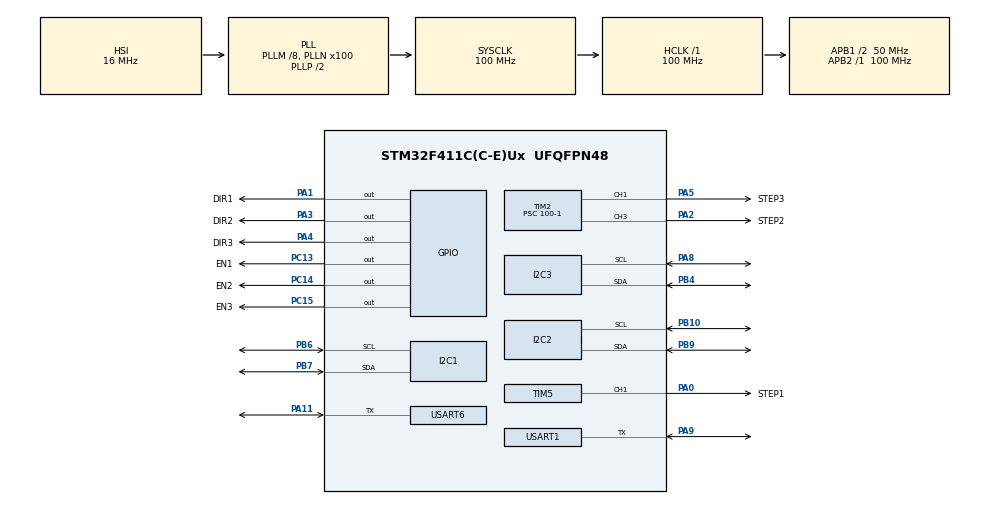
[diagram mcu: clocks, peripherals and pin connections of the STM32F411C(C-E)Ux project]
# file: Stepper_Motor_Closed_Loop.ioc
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Mcu.Family=STM32F4
Mcu.Name=STM32F411C(C-E)Ux
Mcu.Package=UFQFPN48
NVIC.PriorityGroup=NVIC_PRIORITYGROUP_4
NVIC.TIM2_IRQn=true\:0\:0\:true\:false\:true\:true\:true\:true
NVIC.TIM5_IRQn=true\:0\:0\:false\:false\:true\:true\:true\:true
PA0-WKUP.GPIO_Label=STEP1
PA0-WKUP.Signal=S_TIM5_CH1
PA1.GPIO_Label=DIR1
PA1.Signal=GPIO_Output
PA11.Mode=Half_duplex(single_wire_mode)
PA11.Signal=USART6_TX
PA13.Mode=Trace_Asynchronous_SW
PA13.Signal=SYS_JTMS-SWDIO
PA14.Mode=Trace_Asynchronous_SW
PA14.Signal=SYS_JTCK-SWCLK
PA2.GPIO_Label=STEP2
PA2.Signal=S_TIM2_CH3
PA3.GPIO_Label=DIR2
PA3.Signal=GPIO_Output
PA4.GPIO_Label=DIR3
PA4.Signal=GPIO_Output
PA5.GPIO_Label=STEP3
PA5.Signal=S_TIM2_CH1_ETR
PA8.Mode=I2C
PA8.Signal=I2C3_SCL
PA9.Mode=Half_duplex(single_wire_mode)
PA9.Signal=USART1_TX
PB10.GPIO_Pu=GPIO_PULLUP
PB10.Mode=I2C
PB10.Signal=I2C2_SCL
PB3.Mode=Trace_Asynchronous_SW
PB3.Signal=SYS_JTDO-SWO
PB4.Mode=I2C
PB4.Signal=I2C3_SDA
PB6.GPIO_Pu=GPIO_PULLUP
PB6.Mode=I2C
PB6.Signal=I2C1_SCL
PB7.GPIO_Pu=GPIO_PULLUP
PB7.Mode=I2C
PB7.Signal=I2C1_SDA
PB9.GPIO_Pu=GPIO_PULLUP
PB9.Mode=I2C
PB9.Signal=I2C2_SDA
PC13-ANTI_TAMP.GPIO_Label=EN1
PC13-ANTI_TAMP.GPIO_PuPd=GPIO_PULLUP
PC13-ANTI_TAMP.Signal=GPIO_Output
PC14-OSC32_IN.GPIO_Label=EN2
PC14-OSC32_IN.GPIO_PuPd=GPIO_PULLUP
PC14-OSC32_IN.Signal=GPIO_Output
PC15-OSC32_OUT.GPIO_Label=EN3
PC15-OSC32_OUT.GPIO_PuPd=GPIO_PULLUP
PC15-OSC32_OUT.Signal=GPIO_Output
PH0\ -\ OSC_IN.Mode=HSE-External-Oscillator
PH0\ -\ OSC_IN.Signal=RCC_OSC_IN
PH1\ -\ OSC_OUT.Mode=HSE-External-Oscillator
PH1\ -\ OSC_OUT.Signal=RCC_OSC_OUT
ProjectManager.HeapSize=0x200
ProjectManager.StackSize=0x400
ProjectManager.TargetToolchain=STM32CubeIDE
RCC.48MHZClocksFreq_Value=50000000
RCC.AHBFreq_Value=100000000
RCC.APB1CLKDivider=RCC_HCLK_DIV2
RCC.APB1Freq_Value=50000000
RCC.APB1TimFreq_Value=100000000
RCC.APB2Freq_Value=100000000
RCC.APB2TimFreq_Value=100000000
RCC.CortexFreq_Value=100000000
RCC.HCLKFreq_Value=100000000
RCC.HSE_VALUE=25000000
RCC.HSI_VALUE=16000000
RCC.LSE_VALUE=32768
RCC.PLLM=8
RCC.PLLN=100
RCC.SYSCLKFreq_VALUE=100000000
RCC.SYSCLKSource=RCC_SYSCLKSOURCE_PLLCLK
RCC.VCOOutputFreq_Value=200000000
SH.S_TIM2_CH1_ETR.0=TIM2_CH1,PWM Generation1 CH1
SH.S_TIM2_CH3.0=TIM2_CH3,PWM Generation3 CH3
SH.S_TIM5_CH1.0=TIM5_CH1,PWM Generation1 CH1
TIM2.AutoReloadPreload=TIM_AUTORELOAD_PRELOAD_ENABLE
TIM2.Channel-PWM\ Generation1\ CH1=TIM_CHANNEL_1
TIM2.Channel-PWM\ Generation3\ CH3=TIM_CHANNEL_3
TIM2.Period=2000-1
TIM2.Prescaler=100-1
TIM2.TIM_MasterOutputTrigger=TIM_TRGO_RESET
TIM5.Channel-PWM\ Generation1\ CH1=TIM_CHANNEL_1
USART1.VirtualMode=VM_ASYNC
USART6.VirtualMode=VM_ASYNC
VP_TIM2_VS_ClockSourceINT.Mode=Internal
VP_TIM5_VS_ClockSourceINT.Mode=Internal
board=custom

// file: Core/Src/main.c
/* USER CODE BEGIN Header */
/**
 ******************************************************************************
 * @file           : main.c
 * @brief          : Main program body
 ******************************************************************************
 * @attention
 *
 * Copyright (c) 2025 STMicroelectronics.
 * All rights reserved.
 *
 * This software is licensed under terms that can be found in the LICENSE file
 * in the root directory of this software component.
 * If no LICENSE file comes with this software, it is provided AS-IS.
 *
 ******************************************************************************
 */
/* USER CODE END Header */
#include "main.h"

/* USER CODE BEGIN Includes */
#include "Stepper_Driver.h"
#include "stdio.h"
/* USER CODE END Includes */

I2C_HandleTypeDef hi2c1;
I2C_HandleTypeDef hi2c2;
I2C_HandleTypeDef hi2c3;

TIM_HandleTypeDef htim2;
TIM_HandleTypeDef htim5;

UART_HandleTypeDef huart1;
UART_HandleTypeDef huart6;

void SystemClock_Config(void);
static void MX_GPIO_Init(void);
static void MX_I2C1_Init(void);
static void MX_TIM2_Init(void);
static void MX_TIM5_Init(void);
static void MX_I2C2_Init(void);
static void MX_USART6_UART_Init(void);
static void MX_I2C3_Init(void);
static void MX_USART1_UART_Init(void);
/* USER CODE BEGIN PFP */
int _write(int file, char *ptr, int len) {
	(void) file;
	int DataIdx;

	for (DataIdx = 0; DataIdx < len; DataIdx++) {
		ITM_SendChar(*ptr++);
	}
	return len;
}

Motorparams dof1 = {180, &hi2c1, &htim2};
Motorparams dof2 = {180, &hi2c2, &htim2};
Motorparams dof3 = {180, &hi2c3, &htim5};

/* USER CODE END PFP */

int main(void)
{

  /* MCU Configuration--------------------------------------------------------*/

  /* Reset of all peripherals, Initializes the Flash interface and the Systick. */
  HAL_Init();

  /* Configure the system clock */
  SystemClock_Config();

  /* Initialize all configured peripherals */
  MX_GPIO_Init();
  MX_I2C1_Init();
  MX_TIM2_Init();
  MX_TIM5_Init();
  MX_I2C2_Init();
  MX_USART6_UART_Init();
  MX_I2C3_Init();
  MX_USART1_UART_Init();

  /* Infinite loop */
  /* USER CODE BEGIN WHILE */
	while (1) {
//MotorControl_Update Function is used to activate the closed loop control for the particular dof in its parameter
//	MotorControl_Update(&dof1); //TIM2->CCR3 STEPPER 2
//	HAL_Delay(1);
//	MotorControl_Update(&dof2); //TIM2->CCR1 STEPPER 3
//	HAL_Delay(1);
//	MotorControl_Update(&dof3);	//TIM5->CCR1 STEPPER 1

/* OPEN LOOP CODE BEGIN
//	HAL_GPIO_WritePin(GPIOA, GPIO_PIN_1, GPIO_PIN_SET );
//	HAL_TIM_PWM_Start(&htim2, TIM_CHANNEL_1);
//	TIM2 -> CCR1 = 100;
 * OPEN LOOP CODE END
 */

/* AS5600 TEST CODE BEGIN */
	float angle = AS5600_ReadCorrectedAngle(&hi2c1);
	        if (angle >= 0) {
	            printf("Angle: %.2f°\n", angle);
	        } else {
	            printf("AS5600 Read Error!\n");
	        }
	HAL_Delay(500);  // Read every 500ms
 /* AS5600 TEST CODE END */

    /* USER CODE END WHILE */

	}
}

void SystemClock_Config(void)
{
  RCC_OscInitTypeDef RCC_OscInitStruct = {0};
  RCC_ClkInitTypeDef RCC_ClkInitStruct = {0};

  /** Configure the main internal regulator output voltage
  */
  __HAL_RCC_PWR_CLK_ENABLE();
  __HAL_PWR_VOLTAGESCALING_CONFIG(PWR_REGULATOR_VOLTAGE_SCALE1);

  /** Initializes the RCC Oscillators according to the specified parameters
  * in the RCC_OscInitTypeDef structure.
  */
  RCC_OscInitStruct.OscillatorType = RCC_OSCILLATORTYPE_HSI;
  RCC_OscInitStruct.HSIState = RCC_HSI_ON;
  RCC_OscInitStruct.HSICalibrationValue = RCC_HSICALIBRATION_DEFAULT;
  RCC_OscInitStruct.PLL.PLLState = RCC_PLL_ON;
  RCC_OscInitStruct.PLL.PLLSource = RCC_PLLSOURCE_HSI;
  RCC_OscInitStruct.PLL.PLLM = 8;
  RCC_OscInitStruct.PLL.PLLN = 100;
  RCC_OscInitStruct.PLL.PLLP = RCC_PLLP_DIV2;
  RCC_OscInitStruct.PLL.PLLQ = 4;
  if (HAL_RCC_OscConfig(&RCC_OscInitStruct) != HAL_OK)
  {
    Error_Handler();
  }

  /** Initializes the CPU, AHB and APB buses clocks
  */
  RCC_ClkInitStruct.ClockType = RCC_CLOCKTYPE_HCLK|RCC_CLOCKTYPE_SYSCLK
                              |RCC_CLOCKTYPE_PCLK1|RCC_CLOCKTYPE_PCLK2;
  RCC_ClkInitStruct.SYSCLKSource = RCC_SYSCLKSOURCE_PLLCLK;
  RCC_ClkInitStruct.AHBCLKDivider = RCC_SYSCLK_DIV1;
  RCC_ClkInitStruct.APB1CLKDivider = RCC_HCLK_DIV2;
  RCC_ClkInitStruct.APB2CLKDivider = RCC_HCLK_DIV1;

  if (HAL_RCC_ClockConfig(&RCC_ClkInitStruct, FLASH_LATENCY_3) != HAL_OK)
  {
    Error_Handler();
  }
}

static void MX_I2C1_Init(void)
{

  hi2c1.Instance = I2C1;
  hi2c1.Init.ClockSpeed = 100000;
  hi2c1.Init.DutyCycle = I2C_DUTYCYCLE_2;
  hi2c1.Init.OwnAddress1 = 0;
  hi2c1.Init.AddressingMode = I2C_ADDRESSINGMODE_7BIT;
  hi2c1.Init.DualAddressMode = I2C_DUALADDRESS_DISABLE;
  hi2c1.Init.OwnAddress2 = 0;
  hi2c1.Init.GeneralCallMode = I2C_GENERALCALL_DISABLE;
  hi2c1.Init.NoStretchMode = I2C_NOSTRETCH_DISABLE;
  if (HAL_I2C_Init(&hi2c1) != HAL_OK)
  {
    Error_Handler();
  }

}

static void MX_I2C2_Init(void)
{

  hi2c2.Instance = I2C2;
  hi2c2.Init.ClockSpeed = 100000;
  hi2c2.Init.DutyCycle = I2C_DUTYCYCLE_2;
  hi2c2.Init.OwnAddress1 = 0;
  hi2c2.Init.AddressingMode = I2C_ADDRESSINGMODE_7BIT;
  hi2c2.Init.DualAddressMode = I2C_DUALADDRESS_DISABLE;
  hi2c2.Init.OwnAddress2 = 0;
  hi2c2.Init.GeneralCallMode = I2C_GENERALCALL_DISABLE;
  hi2c2.Init.NoStretchMode = I2C_NOSTRETCH_DISABLE;
  if (HAL_I2C_Init(&hi2c2) != HAL_OK)
  {
    Error_Handler();
  }

}

static void MX_I2C3_Init(void)
{

  hi2c3.Instance = I2C3;
  hi2c3.Init.ClockSpeed = 100000;
  hi2c3.Init.DutyCycle = I2C_DUTYCYCLE_2;
  hi2c3.Init.OwnAddress1 = 0;
  hi2c3.Init.AddressingMode = I2C_ADDRESSINGMODE_7BIT;
  hi2c3.Init.DualAddressMode = I2C_DUALADDRESS_DISABLE;
  hi2c3.Init.OwnAddress2 = 0;
  hi2c3.Init.GeneralCallMode = I2C_GENERALCALL_DISABLE;
  hi2c3.Init.NoStretchMode = I2C_NOSTRETCH_DISABLE;
  if (HAL_I2C_Init(&hi2c3) != HAL_OK)
  {
    Error_Handler();
  }

}

static void MX_TIM2_Init(void)
{

  TIM_ClockConfigTypeDef sClockSourceConfig = {0};
  TIM_MasterConfigTypeDef sMasterConfig = {0};
  TIM_OC_InitTypeDef sConfigOC = {0};

  htim2.Instance = TIM2;
  htim2.Init.Prescaler = 100-1;
  htim2.Init.CounterMode = TIM_COUNTERMODE_UP;
  htim2.Init.Period = 2000-1;
  htim2.Init.ClockDivision = TIM_CLOCKDIVISION_DIV1;
  htim2.Init.AutoReloadPreload = TIM_AUTORELOAD_PRELOAD_ENABLE;
  if (HAL_TIM_Base_Init(&htim2) != HAL_OK)
  {
    Error_Handler();
  }
  sClockSourceConfig.ClockSource = TIM_CLOCKSOURCE_INTERNAL;
  if (HAL_TIM_ConfigClockSource(&htim2, &sClockSourceConfig) != HAL_OK)
  {
    Error_Handler();
  }
  if (HAL_TIM_PWM_Init(&htim2) != HAL_OK)
  {
    Error_Handler();
  }
  sMasterConfig.MasterOutputTrigger = TIM_TRGO_RESET;
  sMasterConfig.MasterSlaveMode = TIM_MASTERSLAVEMODE_DISABLE;
  if (HAL_TIMEx_MasterConfigSynchronization(&htim2, &sMasterConfig) != HAL_OK)
  {
    Error_Handler();
  }
  sConfigOC.OCMode = TIM_OCMODE_PWM1;
  sConfigOC.Pulse = 0;
  sConfigOC.OCPolarity = TIM_OCPOLARITY_HIGH;
  sConfigOC.OCFastMode = TIM_OCFAST_DISABLE;
  if (HAL_TIM_PWM_ConfigChannel(&htim2, &sConfigOC, TIM_CHANNEL_1) != HAL_OK)
  {
    Error_Handler();
  }
  if (HAL_TIM_PWM_ConfigChannel(&htim2, &sConfigOC, TIM_CHANNEL_3) != HAL_OK)
  {
    Error_Handler();
  }
  HAL_TIM_MspPostInit(&htim2);

}

static void MX_TIM5_Init(void)
{

  TIM_ClockConfigTypeDef sClockSourceConfig = {0};
  TIM_MasterConfigTypeDef sMasterConfig = {0};
  TIM_OC_InitTypeDef sConfigOC = {0};

  htim5.Instance = TIM5;
  htim5.Init.Prescaler = 0;
  htim5.Init.CounterMode = TIM_COUNTERMODE_UP;
  htim5.Init.Period = 4294967295;
  htim5.Init.ClockDivision = TIM_CLOCKDIVISION_DIV1;
  htim5.Init.AutoReloadPreload = TIM_AUTORELOAD_PRELOAD_DISABLE;
  if (HAL_TIM_Base_Init(&htim5) != HAL_OK)
  {
    Error_Handler();
  }
  sClockSourceConfig.ClockSource = TIM_CLOCKSOURCE_INTERNAL;
  if (HAL_TIM_ConfigClockSource(&htim5, &sClockSourceConfig) != HAL_OK)
  {
    Error_Handler();
  }
  if (HAL_TIM_PWM_Init(&htim5) != HAL_OK)
  {
    Error_Handler();
  }
  sMasterConfig.MasterOutputTrigger = TIM_TRGO_RESET;
  sMasterConfig.MasterSlaveMode = TIM_MASTERSLAVEMODE_DISABLE;
  if (HAL_TIMEx_MasterConfigSynchronization(&htim5, &sMasterConfig) != HAL_OK)
  {
    Error_Handler();
  }
  sConfigOC.OCMode = TIM_OCMODE_PWM1;
  sConfigOC.Pulse = 0;
  sConfigOC.OCPolarity = TIM_OCPOLARITY_HIGH;
  sConfigOC.OCFastMode = TIM_OCFAST_DISABLE;
  if (HAL_TIM_PWM_ConfigChannel(&htim5, &sConfigOC, TIM_CHANNEL_1) != HAL_OK)
  {
    Error_Handler();
  }
  HAL_TIM_MspPostInit(&htim5);

}

static void MX_USART1_UART_Init(void)
{

  huart1.Instance = USART1;
  huart1.Init.BaudRate = 115200;
  huart1.Init.WordLength = UART_WORDLENGTH_8B;
  huart1.Init.StopBits = UART_STOPBITS_1;
  huart1.Init.Parity = UART_PARITY_NONE;
  huart1.Init.Mode = UART_MODE_TX_RX;
  huart1.Init.HwFlowCtl = UART_HWCONTROL_NONE;
  huart1.Init.OverSampling = UART_OVERSAMPLING_16;
  if (HAL_HalfDuplex_Init(&huart1) != HAL_OK)
  {
    Error_Handler();
  }

}

static void MX_USART6_UART_Init(void)
{

  huart6.Instance = USART6;
  huart6.Init.BaudRate = 115200;
  huart6.Init.WordLength = UART_WORDLENGTH_8B;
  huart6.Init.StopBits = UART_STOPBITS_1;
  huart6.Init.Parity = UART_PARITY_NONE;
  huart6.Init.Mode = UART_MODE_TX_RX;
  huart6.Init.HwFlowCtl = UART_HWCONTROL_NONE;
  huart6.Init.OverSampling = UART_OVERSAMPLING_16;
  if (HAL_HalfDuplex_Init(&huart6) != HAL_OK)
  {
    Error_Handler();
  }

}

static void MX_GPIO_Init(void)
{
  GPIO_InitTypeDef GPIO_InitStruct = {0};

  /* GPIO Ports Clock Enable */
  __HAL_RCC_GPIOC_CLK_ENABLE();
  __HAL_RCC_GPIOH_CLK_ENABLE();
  __HAL_RCC_GPIOA_CLK_ENABLE();
  __HAL_RCC_GPIOB_CLK_ENABLE();

  /*Configure GPIO pin Output Level */
  HAL_GPIO_WritePin(GPIOC, EN1_Pin|EN2_Pin|EN3_Pin, GPIO_PIN_RESET);

  /*Configure GPIO pin Output Level */
  HAL_GPIO_WritePin(GPIOA, DIR1_Pin|DIR2_Pin|DIR3_Pin, GPIO_PIN_RESET);

  /*Configure GPIO pins : EN1_Pin EN2_Pin EN3_Pin */
  GPIO_InitStruct.Pin = EN1_Pin|EN2_Pin|EN3_Pin;
  GPIO_InitStruct.Mode = GPIO_MODE_OUTPUT_PP;
  GPIO_InitStruct.Pull = GPIO_PULLUP;
  GPIO_InitStruct.Speed = GPIO_SPEED_FREQ_LOW;
  HAL_GPIO_Init(GPIOC, &GPIO_InitStruct);

  /*Configure GPIO pins : DIR1_Pin DIR2_Pin DIR3_Pin */
  GPIO_InitStruct.Pin = DIR1_Pin|DIR2_Pin|DIR3_Pin;
  GPIO_InitStruct.Mode = GPIO_MODE_OUTPUT_PP;
  GPIO_InitStruct.Pull = GPIO_NOPULL;
  GPIO_InitStruct.Speed = GPIO_SPEED_FREQ_LOW;
  HAL_GPIO_Init(GPIOA, &GPIO_InitStruct);

}

void Error_Handler(void)
{
	__disable_irq();
	while (1) {
	}
}
